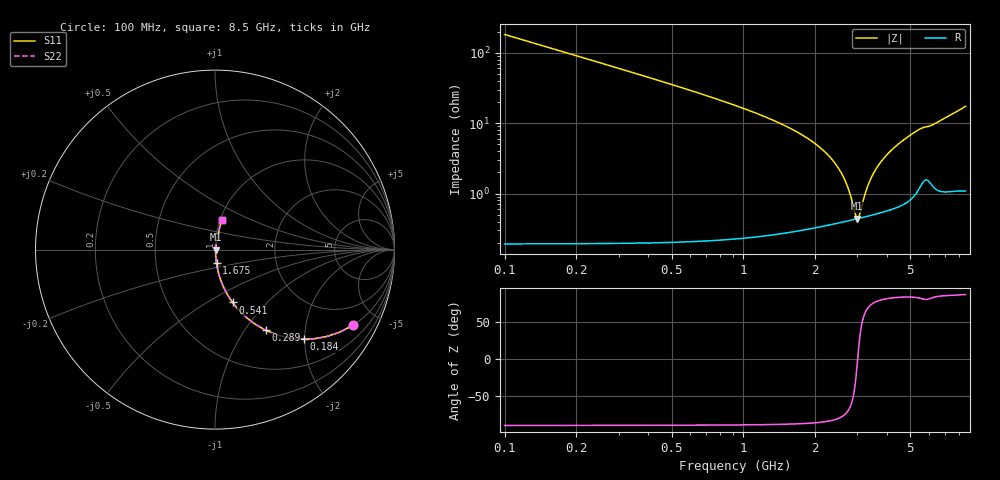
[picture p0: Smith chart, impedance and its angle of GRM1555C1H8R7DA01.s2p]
!Murata Part Number: GRM1555C1H8R7DA01
!These Parameters are Measured in Series Mode Connection
!Data Generated on Mar 30, 2021
!  o--ll--o
!Port1  Port2
!  o------o
!Operation Temp=25[degC], DC Bias Voltage=0[V]
!Freq. Start=100[MHz] Stop=9[GHz] 401[Steps]
# Hz S RI R 50
!Freq.(Hz) S11(Real) S11(Imag) S21(Real) S21(Imag) S12(Real) S12(Imag) S22(Real) S22(Imag)
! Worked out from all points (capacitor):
!   401 points, 100 MHz to 8.5 GHz, reference 50 ohm
!   read as one part in series: C = 8.7 pF near 142 MHz
!   lowest |Z| = 441 mohm at 2.998 GHz (marker M1)
!   series resonance near 3.009 GHz, so ESL is about 320 pH
!   S11 on the Smith chart (normalised r, x): 100 MHz: 1.00, -3.65; 184 MHz: 1.00, -1.98; 289 MHz: 1.00, -1.25; 541 MHz: 1.00, -0.65; 1.675 GHz: 1.01, -0.15; 8.5 GHz: 1.02, +0.35
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1e8  0.7693 -0.4208  0.2307 0.4208  0.2307 0.4208  0.7693 -0.4208
1.84e8  0.4952 -0.499  0.5048 0.499  0.5048 0.499  0.4952 -0.499
2.89e8  0.2829 -0.4488  0.7171 0.4488  0.7171 0.4488  0.2829 -0.4488
3.94e8  0.1734 -0.3764  0.8266 0.3764  0.8266 0.3764  0.1734 -0.3764
5.41e8  0.0981 -0.2944  0.9019 0.2944  0.9019 0.2944  0.0981 -0.2944
9.19e8  0.0335 -0.1739  0.9665 0.1739  0.9665 0.1739  0.0335 -0.1739
1.507e9  0.0109 -0.0896  0.9891 0.0896  0.9891 0.0896  0.0109 -0.0896
1.675e9  0.00849 -0.0744  0.9915 0.0744  0.9915 0.0744  0.00849 -0.0744
2.158e9  0.00509 -0.0408  0.9949 0.0408  0.9949 0.0408  0.00509 -0.0408
2.494e9  0.00431 -0.0228  0.9957 0.0228  0.9957 0.0228  0.00431 -0.0228
2.725e9  0.0042 -0.012  0.9958 0.012  0.9958 0.012  0.0042 -0.012
2.914e9  0.00429 -0.00387  0.9957 0.00387  0.9957 0.00387  0.00429 -0.00387
2.998e9  0.00437 -0.000442  0.9956 0.000442  0.9956 0.000442  0.00437 -0.000442
3.061e9  0.00445 0.00207  0.9956 -0.00207  0.9956 -0.00207  0.00445 0.00207
3.292e9  0.00483 0.0109  0.9952 -0.0109  0.9952 -0.0109  0.00483 0.0109
3.502e9  0.00531 0.0185  0.9947 -0.0185  0.9947 -0.0185  0.00531 0.0185
3.838e9  0.00631 0.0299  0.9937 -0.0299  0.9937 -0.0299  0.00631 0.0299
4.3e9  0.00813 0.0447  0.9919 -0.0447  0.9919 -0.0447  0.00813 0.0447
5.035e9  0.0128 0.067  0.9872 -0.067  0.9872 -0.067  0.0128 0.067
5.707e9  0.0219 0.0829  0.9781 -0.0829  0.9781 -0.0829  0.0219 0.0829
7.114e9  0.0248 0.1181  0.9752 -0.1181  0.9752 -0.1181  0.0248 0.1181
8.5e9  0.0391 0.1652  0.9609 -0.1652  0.9609 -0.1652  0.0391 0.1652
